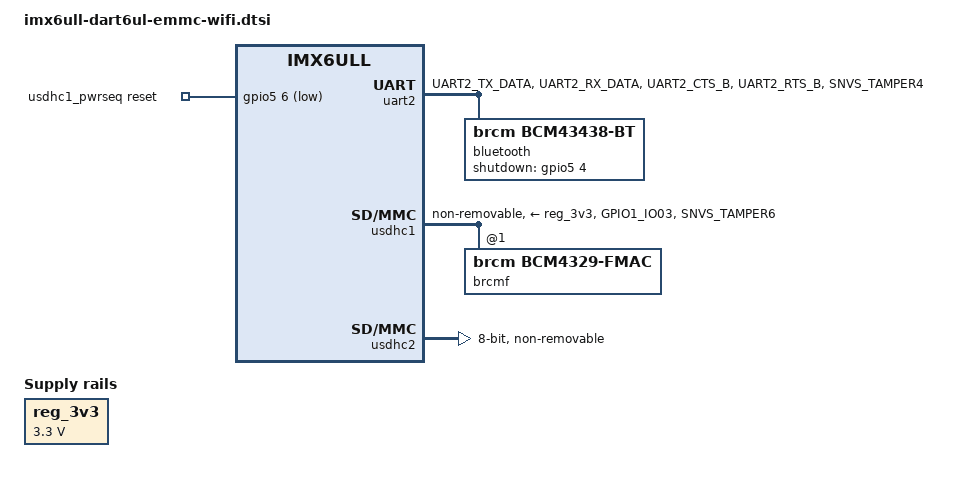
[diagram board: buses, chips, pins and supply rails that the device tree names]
/*
 * Copyright (C) 2018 Amotus Solutions, Inc.
 */

/ {
	regulators {
		compatible = "simple-bus";

		reg_3v3: regulator-3v3 {
			compatible = "regulator-fixed";
			regulator-name = "VSD_3V3";
			regulator-min-microvolt = <3300000>;
			regulator-max-microvolt = <3300000>;
		};
	};

	usdhc1_pwrseq: usdhc1-pwrseq {
		compatible = "mmc-pwrseq-simple";
		reset-gpios = <&gpio5 6 GPIO_ACTIVE_LOW>;
	};
};

&uart2 {
	pinctrl-names = "default";
	pinctrl-0 = <&pinctrl_uart2 &pinctrl_snvs_brcm_bt>;
	uart-has-rtscts;
	status = "okay";

	bluetooth {
		compatible = "brcm,bcm43438-bt";
		shutdown-gpios = <&gpio5 4 GPIO_ACTIVE_HIGH>;
	};
};

&usdhc1 {
	pinctrl-names = "default", "state_100mhz", "state_200mhz";
	pinctrl-0 = <&pinctrl_usdhc1 &pinctrl_brcm_wifi &pinctrl_snvs_brcm_wifi>;
	pinctrl-1 = <&pinctrl_usdhc1_100mhz &pinctrl_brcm_wifi &pinctrl_snvs_brcm_wifi>;
	pinctrl-2 = <&pinctrl_usdhc1_200mhz &pinctrl_brcm_wifi &pinctrl_snvs_brcm_wifi>;
	no-1-8-v;
	non-removable;
	mmc-pwrseq = <&usdhc1_pwrseq>;
	vmmc-supply = <&reg_3v3>;
	status = "okay";

	#address-cells = <1>;
	#size-cells = <0>;

	/* CYW4343W */
	brcmf: wifi@1 {
		compatible = "brcm,bcm4329-fmac";
		reg = <1>;
	};
};

/* eMMC */
&usdhc2 {
	pinctrl-names = "default", "state_100mhz", "state_200mhz";
	pinctrl-0 = <&pinctrl_usdhc2>;
	pinctrl-1 = <&pinctrl_usdhc2_100mhz>;
	pinctrl-2 = <&pinctrl_usdhc2_200mhz>;
	no-1-8-v;
	non-removable;
	keep-power-in-suspend;
	bus-width = <8>;
	status = "okay";
};

&iomuxc {
	pinctrl_uart2: uart2grp {
		fsl,pins = <
		MX6UL_PAD_UART2_TX_DATA__UART2_DCE_TX	0x1b0b1
		MX6UL_PAD_UART2_RX_DATA__UART2_DCE_RX	0x1b0b1
		MX6UL_PAD_UART2_CTS_B__UART2_DCE_CTS	0x1b0b1
		MX6UL_PAD_UART2_RTS_B__UART2_DCE_RTS	0x1b0b1
		>;
	};

	pinctrl_brcm_wifi: brcm-wifi {
		fsl,pins = <
		MX6UL_PAD_GPIO1_IO03__OSC32K_32K_OUT	0x03029	/* WLAN Slow Clock */
		>;
	};
};

&iomuxc_snvs {
	pinctrl_snvs_brcm_bt: snvs-brcm-bt {
		fsl,pins = <
		MX6ULL_PAD_SNVS_TAMPER4__GPIO5_IO04	0x1b0b0	/* BT Enable (BT_REG_ON) */
		>;
	};

	pinctrl_snvs_brcm_wifi: snvs-brcm-wifi {
		fsl,pins = <
		MX6ULL_PAD_SNVS_TAMPER6__GPIO5_IO06	0x1b0b0	/* WLAN enable (WL_REG_ON) */
		>;
	};
};
